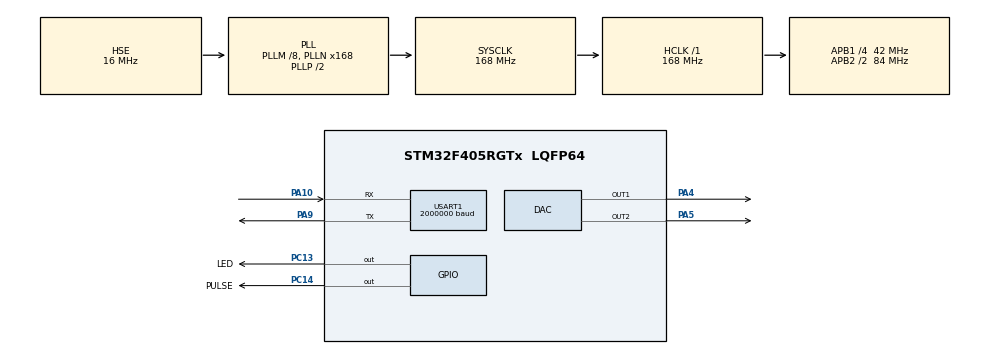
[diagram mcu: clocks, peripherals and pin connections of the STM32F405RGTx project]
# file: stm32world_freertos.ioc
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ARM.CMSIS.5.6.0.CMSISJjCORE=true
ARM.CMSIS.5.6.0.CMSISJjDSP=Library
DAC.DAC_Trigger=DAC_TRIGGER_T6_TRGO
DAC.DAC_Trigger2=DAC_TRIGGER_T6_TRGO
Dma.DAC1.0.Direction=DMA_MEMORY_TO_PERIPH
Dma.DAC1.0.FIFOMode=DMA_FIFOMODE_DISABLE
Dma.DAC1.0.Instance=DMA1_Stream5
Dma.DAC1.0.MemDataAlignment=DMA_MDATAALIGN_HALFWORD
Dma.DAC1.0.MemInc=DMA_MINC_ENABLE
Dma.DAC1.0.Mode=DMA_CIRCULAR
Dma.DAC1.0.PeriphDataAlignment=DMA_PDATAALIGN_HALFWORD
Dma.DAC1.0.PeriphInc=DMA_PINC_DISABLE
Dma.DAC1.0.Priority=DMA_PRIORITY_LOW
Dma.DAC2.1.Direction=DMA_MEMORY_TO_PERIPH
Dma.DAC2.1.FIFOMode=DMA_FIFOMODE_DISABLE
Dma.DAC2.1.Instance=DMA1_Stream6
Dma.DAC2.1.MemDataAlignment=DMA_MDATAALIGN_HALFWORD
Dma.DAC2.1.MemInc=DMA_MINC_ENABLE
Dma.DAC2.1.Mode=DMA_CIRCULAR
Dma.DAC2.1.PeriphDataAlignment=DMA_PDATAALIGN_HALFWORD
Dma.DAC2.1.PeriphInc=DMA_PINC_DISABLE
Dma.DAC2.1.Priority=DMA_PRIORITY_LOW
Dma.Request0=DAC1
Dma.Request1=DAC2
FREERTOS.BinarySemaphores01=ledSemaphore,Dynamic,NULL,Available;pulseSemaphore,Dynamic,NULL,Available
FREERTOS.HEAP_NUMBER=4
FREERTOS.INCLUDE_uxTaskGetStackHighWaterMark2=1
FREERTOS.Mutexes01=printMutex,Dynamic,NULL,Available;ledMutex,Dynamic,NULL,Available
FREERTOS.Queues01=tickQueue,16,uint32_t,0,Dynamic,NULL,NULL;sineQueue,16,uint32_t,0,Dynamic,NULL,NULL;waveQueue,16,wave_queue_t,0,Dynamic,NULL,NULL
FREERTOS.Tasks01=defaultTask,24,128,StartDefaultTask,Default,NULL,Dynamic,NULL,NULL;ledTask,24,128,StartLedTask,Default,NULL,Dynamic,NULL,NULL;tickTask,24,256,StartTickTask,Default,NULL,Dynamic,NULL,NULL;statusTask,24,256,StartStatusTask,Default,NULL,Dynamic,NULL,NULL;pulseTask,24,128,StartPulseTask,Default,NULL,Dynamic,NULL,NULL;sineTask,24,256,StartSineTask,Default,NULL,Dynamic,NULL,NULL;waveTask,24,256,StartWaveTask,Default,NULL,Dynamic,NULL,NULL;waste1Task,8,128,StartWaste1Task,Default,NULL,Dynamic,NULL,NULL;waste2Task,8,128,StartWaste2Task,Default,NULL,Dynamic,NULL,NULL
FREERTOS.configENABLE_BACKWARD_COMPATIBILITY=0
FREERTOS.configENABLE_FPU=1
FREERTOS.configGENERATE_RUN_TIME_STATS=1
FREERTOS.configMAX_TASK_NAME_LEN=12
FREERTOS.configMINIMAL_STACK_SIZE=128
FREERTOS.configRECORD_STACK_HIGH_ADDRESS=1
FREERTOS.configTOTAL_HEAP_SIZE=65536
FREERTOS.configUSE_NEWLIB_REENTRANT=1
FREERTOS.configUSE_STATS_FORMATTING_FUNCTIONS=1
Mcu.Family=STM32F4
Mcu.Name=STM32F405RGTx
Mcu.Package=LQFP64
NVIC.DMA1_Stream5_IRQn=true\:5\:0\:false\:false\:true\:true\:false\:true\:true
NVIC.DMA1_Stream6_IRQn=true\:5\:0\:false\:false\:true\:true\:false\:true\:true
NVIC.PriorityGroup=NVIC_PRIORITYGROUP_4
NVIC.TIM4_IRQn=true\:5\:0\:false\:false\:true\:true\:true\:true\:true
NVIC.TIM8_TRG_COM_TIM14_IRQn=true\:15\:0\:false\:false\:true\:false\:false\:true\:true
NVIC.TimeBase=TIM8_TRG_COM_TIM14_IRQn
NVIC.TimeBaseIP=TIM14
PA10.Mode=Asynchronous
PA10.Signal=USART1_RX
PA13.Mode=Trace_Asynchronous_SW
PA13.Signal=SYS_JTMS-SWDIO
PA14.Mode=Trace_Asynchronous_SW
PA14.Signal=SYS_JTCK-SWCLK
PA4.Signal=COMP_DAC1_group
PA5.Signal=COMP_DAC2_group
PA9.Mode=Asynchronous
PA9.Signal=USART1_TX
PB3.Mode=Trace_Asynchronous_SW
PB3.Signal=SYS_JTDO-SWO
PC13-ANTI_TAMP.GPIO_Label=LED
PC13-ANTI_TAMP.PinState=GPIO_PIN_SET
PC13-ANTI_TAMP.Signal=GPIO_Output
PC14-OSC32_IN.GPIO_Label=PULSE
PC14-OSC32_IN.Signal=GPIO_Output
PH0-OSC_IN.Mode=HSE-External-Oscillator
PH0-OSC_IN.Signal=RCC_OSC_IN
PH1-OSC_OUT.Mode=HSE-External-Oscillator
PH1-OSC_OUT.Signal=RCC_OSC_OUT
ProjectManager.HeapSize=0x200
ProjectManager.StackSize=0x400
ProjectManager.TargetToolchain=STM32CubeIDE
RCC.48MHZClocksFreq_Value=84000000
RCC.AHBFreq_Value=168000000
RCC.APB1CLKDivider=RCC_HCLK_DIV4
RCC.APB1Freq_Value=42000000
RCC.APB1TimFreq_Value=84000000
RCC.APB2CLKDivider=RCC_HCLK_DIV2
RCC.APB2Freq_Value=84000000
RCC.APB2TimFreq_Value=168000000
RCC.CortexFreq_Value=168000000
RCC.HCLKFreq_Value=168000000
RCC.HSE_VALUE=16000000
RCC.HSI_VALUE=16000000
RCC.LSE_VALUE=32768
RCC.PLLM=8
RCC.PLLN=168
RCC.PLLSourceVirtual=RCC_PLLSOURCE_HSE
RCC.SYSCLKFreq_VALUE=168000000
RCC.SYSCLKSource=RCC_SYSCLKSOURCE_PLLCLK
RCC.VCOOutputFreq_Value=336000000
SH.COMP_DAC1_group.0=DAC_OUT1,DAC_OUT1
SH.COMP_DAC2_group.0=DAC_OUT2,DAC_OUT2
TIM13.Period=840-1
TIM4.Period=100 - 1
TIM4.Prescaler=84 - 1
TIM6.Period=10 - 1
TIM6.Prescaler=84 - 1
TIM6.TIM_MasterOutputTrigger=TIM_TRGO_UPDATE
USART1.BaudRate=2000000
USART1.OverSampling=UART_OVERSAMPLING_8
USART1.VirtualMode=VM_ASYNC
VP_ARM.CMSIS_VS_CMSISJjCORE_5.3.0_5.6.0.Mode=CMSISJjCORE
VP_ARM.CMSIS_VS_CMSISJjDSP_1.7.0_5.6.0.Mode=CMSISJjDSP
VP_FREERTOS_VS_CMSIS_V2.Mode=CMSIS_V2
VP_SYS_VS_tim14.Mode=TIM14
VP_TIM13_VS_ClockSourceINT.Mode=Enable_Timer
VP_TIM4_VS_ClockSourceINT.Mode=Internal
VP_TIM6_VS_ClockSourceINT.Mode=Enable_Timer
board=custom

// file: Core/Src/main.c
/* USER CODE BEGIN Header */
/**
 ******************************************************************************
 * @file           : main.c
 * @brief          : Main program body
 ******************************************************************************
 * @attention
 *
 * Copyright (c) 2024 Lars Boegild Thomsen <lth@stm32world.com>
 * All rights reserved.
 *
 * This software is licensed under terms that can be found in the LICENSE file
 * in the root directory of this software component.
 * If no LICENSE file comes with this software, it is provided AS-IS.
 *
 ******************************************************************************
 */
/* USER CODE END Header */
#include "main.h"
#include "cmsis_os.h"

/* USER CODE BEGIN Includes */
#include <stdio.h>
#include <math.h>
#include "arm_math.h"
/* USER CODE END Includes */

/* USER CODE BEGIN PTD */

typedef struct {
    uint16_t *buffer;
    float angle;
    float angle_change;
    float amplification;
} sine_queue_t;

typedef struct {
    uint8_t dac;
    float frequency;
    float amplification;
} wave_queue_t;

/* USER CODE END PTD */

/* USER CODE BEGIN PD */
#define DMA_BUFFER_SIZE 64
#define SAMPLE_FREQ 100000
#define OUTPUT_MID 2048
/* USER CODE END PD */

DAC_HandleTypeDef hdac;
DMA_HandleTypeDef hdma_dac1;
DMA_HandleTypeDef hdma_dac2;

TIM_HandleTypeDef htim4;
TIM_HandleTypeDef htim6;
TIM_HandleTypeDef htim13;

UART_HandleTypeDef huart1;

/* Definitions for defaultTask */
osThreadId_t defaultTaskHandle;
const osThreadAttr_t defaultTask_attributes = {
  .name = "defaultTask",
  .stack_size = 128 * 4,
  .priority = (osPriority_t) osPriorityNormal,
};
/* Definitions for ledTask */
osThreadId_t ledTaskHandle;
const osThreadAttr_t ledTask_attributes = {
  .name = "ledTask",
  .stack_size = 128 * 4,
  .priority = (osPriority_t) osPriorityNormal,
};
/* Definitions for tickTask */
osThreadId_t tickTaskHandle;
const osThreadAttr_t tickTask_attributes = {
  .name = "tickTask",
  .stack_size = 256 * 4,
  .priority = (osPriority_t) osPriorityNormal,
};
/* Definitions for statusTask */
osThreadId_t statusTaskHandle;
const osThreadAttr_t statusTask_attributes = {
  .name = "statusTask",
  .stack_size = 256 * 4,
  .priority = (osPriority_t) osPriorityNormal,
};
/* Definitions for pulseTask */
osThreadId_t pulseTaskHandle;
const osThreadAttr_t pulseTask_attributes = {
  .name = "pulseTask",
  .stack_size = 128 * 4,
  .priority = (osPriority_t) osPriorityNormal,
};
/* Definitions for sineTask */
osThreadId_t sineTaskHandle;
const osThreadAttr_t sineTask_attributes = {
  .name = "sineTask",
  .stack_size = 256 * 4,
  .priority = (osPriority_t) osPriorityNormal,
};
/* Definitions for waveTask */
osThreadId_t waveTaskHandle;
const osThreadAttr_t waveTask_attributes = {
  .name = "waveTask",
  .stack_size = 256 * 4,
  .priority = (osPriority_t) osPriorityNormal,
};
/* Definitions for waste1Task */
osThreadId_t waste1TaskHandle;
const osThreadAttr_t waste1Task_attributes = {
  .name = "waste1Task",
  .stack_size = 128 * 4,
  .priority = (osPriority_t) osPriorityLow,
};
/* Definitions for waste2Task */
osThreadId_t waste2TaskHandle;
const osThreadAttr_t waste2Task_attributes = {
  .name = "waste2Task",
  .stack_size = 128 * 4,
  .priority = (osPriority_t) osPriorityLow,
};
/* Definitions for tickQueue */
osMessageQueueId_t tickQueueHandle;
const osMessageQueueAttr_t tickQueue_attributes = {
  .name = "tickQueue"
};
/* Definitions for sineQueue */
osMessageQueueId_t sineQueueHandle;
const osMessageQueueAttr_t sineQueue_attributes = {
  .name = "sineQueue"
};
/* Definitions for waveQueue */
osMessageQueueId_t waveQueueHandle;
const osMessageQueueAttr_t waveQueue_attributes = {
  .name = "waveQueue"
};
/* Definitions for printMutex */
osMutexId_t printMutexHandle;
const osMutexAttr_t printMutex_attributes = {
  .name = "printMutex"
};
/* Definitions for ledMutex */
osMutexId_t ledMutexHandle;
const osMutexAttr_t ledMutex_attributes = {
  .name = "ledMutex"
};
/* Definitions for ledSemaphore */
osSemaphoreId_t ledSemaphoreHandle;
const osSemaphoreAttr_t ledSemaphore_attributes = {
  .name = "ledSemaphore"
};
/* Definitions for pulseSemaphore */
osSemaphoreId_t pulseSemaphoreHandle;
const osSemaphoreAttr_t pulseSemaphore_attributes = {
  .name = "pulseSemaphore"
};
/* USER CODE BEGIN PV */

volatile unsigned long ulHighFrequencyTimerTicks;

#ifdef configAPPLICATION_ALLOCATED_HEAP
uint8_t ucHeap[configTOTAL_HEAP_SIZE] __attribute__((section(".ccmram")));
#endif

uint16_t dma_buffer_1[2 * DMA_BUFFER_SIZE];
uint16_t dma_buffer_2[2 * DMA_BUFFER_SIZE];

const float amplification_demo_values[] = {
        0.1,
        0.2,
        0.3,
        0.4,
        0.5,
        0.6,
        0.7,
        0.8,
        0.9,
        1.0
};

sine_queue_t dacs[2] = {
        {
                &dma_buffer_1[0],
                0,
                1000 * (2 * M_PI / SAMPLE_FREQ),
                0.99
        },
        {
                &dma_buffer_2[0],
                0,
                999.9 * (2 * M_PI / SAMPLE_FREQ),
                0.00
        }

};

const float two_pi = 2 * M_PI;

uint32_t conv_half_ch1, conv_ch1, conv_half_ch2, conv_ch2, sine_task;

/* USER CODE END PV */

void SystemClock_Config(void);
static void MX_GPIO_Init(void);
static void MX_DMA_Init(void);
static void MX_USART1_UART_Init(void);
static void MX_TIM13_Init(void);
static void MX_TIM4_Init(void);
static void MX_DAC_Init(void);
static void MX_TIM6_Init(void);
void StartDefaultTask(void *argument);
void StartLedTask(void *argument);
void StartTickTask(void *argument);
void StartStatusTask(void *argument);
void StartPulseTask(void *argument);
void StartSineTask(void *argument);
void StartWaveTask(void *argument);
void StartWaste1Task(void *argument);
void StartWaste2Task(void *argument);

/* USER CODE BEGIN 0 */

// Send printf to uart1
int _write(int fd, char *ptr, int len) {
    HAL_StatusTypeDef hstatus;

    if (fd == 1 || fd == 2) {
        hstatus = HAL_UART_Transmit(&huart1, (uint8_t*) ptr, len, HAL_MAX_DELAY);
        if (hstatus == HAL_OK)
            return len;
        else
            return -1;
    }
    return -1;
}

void HAL_DAC_ConvHalfCpltCallbackCh1(DAC_HandleTypeDef *hdac) {
    ++conv_half_ch1;
    dacs[0].buffer = &dma_buffer_1[0];
    uint32_t dac_addr = (uint32_t) &dacs[0];
    osMessageQueuePut(sineQueueHandle, &dac_addr, 0, 0);
}

void HAL_DAC_ConvCpltCallbackCh1(DAC_HandleTypeDef *hdac) {
    ++conv_ch1;
    dacs[0].buffer = &dma_buffer_1[DMA_BUFFER_SIZE];
    uint32_t dac_addr = (uint32_t) &dacs[0];
    osMessageQueuePut(sineQueueHandle, &dac_addr, 0, 0);
}

void HAL_DACEx_ConvHalfCpltCallbackCh2(DAC_HandleTypeDef *hdac) {
    ++conv_half_ch2;
    dacs[1].buffer = &dma_buffer_2[0];
    uint32_t dac_addr = (uint32_t) &dacs[1];
    osMessageQueuePut(sineQueueHandle, &dac_addr, 0, 0);
}

void HAL_DACEx_ConvCpltCallbackCh2(DAC_HandleTypeDef *hdac) {
    ++conv_ch2;
    dacs[1].buffer = &dma_buffer_2[DMA_BUFFER_SIZE];
    uint32_t dac_addr = (uint32_t) &dacs[1];
    osMessageQueuePut(sineQueueHandle, &dac_addr, 0, 0);
}

void configureTimerForRunTimeStats(void) {
    ulHighFrequencyTimerTicks = 0;
    HAL_TIM_Base_Start_IT(&htim13);
}

unsigned long getRunTimeCounterValue(void) {
    return ulHighFrequencyTimerTicks;
}

/* USER CODE END 0 */

int main(void)
{

  /* MCU Configuration--------------------------------------------------------*/

  /* Reset of all peripherals, Initializes the Flash interface and the Systick. */
  HAL_Init();

  /* Configure the system clock */
  SystemClock_Config();

  /* Initialize all configured peripherals */
  MX_GPIO_Init();
  MX_DMA_Init();
  MX_USART1_UART_Init();
  MX_TIM13_Init();
  MX_TIM4_Init();
  MX_DAC_Init();
  MX_TIM6_Init();
  /* USER CODE BEGIN 2 */

    printf("\n\n\n--------\nStarting\n");

    HAL_TIM_Base_Start_IT(&htim4);
    HAL_TIM_Base_Start_IT(&htim6);

    HAL_DAC_Start_DMA(&hdac, DAC_CHANNEL_1, (uint32_t*) &dma_buffer_1, 2 * DMA_BUFFER_SIZE, DAC_ALIGN_12B_R);
    HAL_DAC_Start_DMA(&hdac, DAC_CHANNEL_2, (uint32_t*) &dma_buffer_2, 2 * DMA_BUFFER_SIZE, DAC_ALIGN_12B_R);

  /* USER CODE END 2 */

  /* Init scheduler */
  osKernelInitialize();
  /* Create the mutex(es) */
  /* creation of printMutex */
  printMutexHandle = osMutexNew(&printMutex_attributes);

  /* creation of ledMutex */
  ledMutexHandle = osMutexNew(&ledMutex_attributes);

  /* Create the semaphores(s) */
  /* creation of ledSemaphore */
  ledSemaphoreHandle = osSemaphoreNew(1, 1, &ledSemaphore_attributes);

  /* creation of pulseSemaphore */
  pulseSemaphoreHandle = osSemaphoreNew(1, 1, &pulseSemaphore_attributes);

  /* Create the queue(s) */
  /* creation of tickQueue */
  tickQueueHandle = osMessageQueueNew (16, sizeof(uint32_t), &tickQueue_attributes);

  /* creation of sineQueue */
  sineQueueHandle = osMessageQueueNew (16, sizeof(uint32_t), &sineQueue_attributes);

  /* creation of waveQueue */
  waveQueueHandle = osMessageQueueNew (16, sizeof(wave_queue_t), &waveQueue_attributes);

  /* USER CODE BEGIN RTOS_QUEUES */
    /* creation of sineQueue */
  /* USER CODE END RTOS_QUEUES */

  /* Create the thread(s) */
  /* creation of defaultTask */
  defaultTaskHandle = osThreadNew(StartDefaultTask, NULL, &defaultTask_attributes);

  /* creation of ledTask */
  ledTaskHandle = osThreadNew(StartLedTask, NULL, &ledTask_attributes);

  /* creation of tickTask */
  tickTaskHandle = osThreadNew(StartTickTask, NULL, &tickTask_attributes);

  /* creation of statusTask */
  statusTaskHandle = osThreadNew(StartStatusTask, NULL, &statusTask_attributes);

  /* creation of pulseTask */
  pulseTaskHandle = osThreadNew(StartPulseTask, NULL, &pulseTask_attributes);

  /* creation of sineTask */
  sineTaskHandle = osThreadNew(StartSineTask, NULL, &sineTask_attributes);

  /* creation of waveTask */
  waveTaskHandle = osThreadNew(StartWaveTask, NULL, &waveTask_attributes);

  /* creation of waste1Task */
  waste1TaskHandle = osThreadNew(StartWaste1Task, NULL, &waste1Task_attributes);

  /* creation of waste2Task */
  waste2TaskHandle = osThreadNew(StartWaste2Task, NULL, &waste2Task_attributes);

  /* Start scheduler */
  osKernelStart();

  /* We should never get here as control is now taken by the scheduler */

  /* Infinite loop */
  /* USER CODE BEGIN WHILE */

    Error_Handler();

    while (1)
    {
    /* USER CODE END WHILE */

    }
}

void SystemClock_Config(void)
{
  RCC_OscInitTypeDef RCC_OscInitStruct = {0};
  RCC_ClkInitTypeDef RCC_ClkInitStruct = {0};

  /** Configure the main internal regulator output voltage
  */
  __HAL_RCC_PWR_CLK_ENABLE();
  __HAL_PWR_VOLTAGESCALING_CONFIG(PWR_REGULATOR_VOLTAGE_SCALE1);

  /** Initializes the RCC Oscillators according to the specified parameters
  * in the RCC_OscInitTypeDef structure.
  */
  RCC_OscInitStruct.OscillatorType = RCC_OSCILLATORTYPE_HSE;
  RCC_OscInitStruct.HSEState = RCC_HSE_ON;
  RCC_OscInitStruct.PLL.PLLState = RCC_PLL_ON;
  RCC_OscInitStruct.PLL.PLLSource = RCC_PLLSOURCE_HSE;
  RCC_OscInitStruct.PLL.PLLM = 8;
  RCC_OscInitStruct.PLL.PLLN = 168;
  RCC_OscInitStruct.PLL.PLLP = RCC_PLLP_DIV2;
  RCC_OscInitStruct.PLL.PLLQ = 4;
  if (HAL_RCC_OscConfig(&RCC_OscInitStruct) != HAL_OK)
  {
    Error_Handler();
  }

  /** Initializes the CPU, AHB and APB buses clocks
  */
  RCC_ClkInitStruct.ClockType = RCC_CLOCKTYPE_HCLK|RCC_CLOCKTYPE_SYSCLK
                              |RCC_CLOCKTYPE_PCLK1|RCC_CLOCKTYPE_PCLK2;
  RCC_ClkInitStruct.SYSCLKSource = RCC_SYSCLKSOURCE_PLLCLK;
  RCC_ClkInitStruct.AHBCLKDivider = RCC_SYSCLK_DIV1;
  RCC_ClkInitStruct.APB1CLKDivider = RCC_HCLK_DIV4;
  RCC_ClkInitStruct.APB2CLKDivider = RCC_HCLK_DIV2;

  if (HAL_RCC_ClockConfig(&RCC_ClkInitStruct, FLASH_LATENCY_5) != HAL_OK)
  {
    Error_Handler();
  }
}

static void MX_DAC_Init(void)
{

  DAC_ChannelConfTypeDef sConfig = {0};

  /** DAC Initialization
  */
  hdac.Instance = DAC;
  if (HAL_DAC_Init(&hdac) != HAL_OK)
  {
    Error_Handler();
  }

  /** DAC channel OUT1 config
  */
  sConfig.DAC_Trigger = DAC_TRIGGER_T6_TRGO;
  sConfig.DAC_OutputBuffer = DAC_OUTPUTBUFFER_ENABLE;
  if (HAL_DAC_ConfigChannel(&hdac, &sConfig, DAC_CHANNEL_1) != HAL_OK)
  {
    Error_Handler();
  }

  /** DAC channel OUT2 config
  */
  if (HAL_DAC_ConfigChannel(&hdac, &sConfig, DAC_CHANNEL_2) != HAL_OK)
  {
    Error_Handler();
  }

}

static void MX_TIM4_Init(void)
{

  TIM_ClockConfigTypeDef sClockSourceConfig = {0};
  TIM_MasterConfigTypeDef sMasterConfig = {0};

  htim4.Instance = TIM4;
  htim4.Init.Prescaler = 84 - 1;
  htim4.Init.CounterMode = TIM_COUNTERMODE_UP;
  htim4.Init.Period = 100 - 1;
  htim4.Init.ClockDivision = TIM_CLOCKDIVISION_DIV1;
  htim4.Init.AutoReloadPreload = TIM_AUTORELOAD_PRELOAD_DISABLE;
  if (HAL_TIM_Base_Init(&htim4) != HAL_OK)
  {
    Error_Handler();
  }
  sClockSourceConfig.ClockSource = TIM_CLOCKSOURCE_INTERNAL;
  if (HAL_TIM_ConfigClockSource(&htim4, &sClockSourceConfig) != HAL_OK)
  {
    Error_Handler();
  }
  sMasterConfig.MasterOutputTrigger = TIM_TRGO_RESET;
  sMasterConfig.MasterSlaveMode = TIM_MASTERSLAVEMODE_DISABLE;
  if (HAL_TIMEx_MasterConfigSynchronization(&htim4, &sMasterConfig) != HAL_OK)
  {
    Error_Handler();
  }

}

static void MX_TIM6_Init(void)
{

  TIM_MasterConfigTypeDef sMasterConfig = {0};

  htim6.Instance = TIM6;
  htim6.Init.Prescaler = 84 - 1;
  htim6.Init.CounterMode = TIM_COUNTERMODE_UP;
  htim6.Init.Period = 10 - 1;
  htim6.Init.AutoReloadPreload = TIM_AUTORELOAD_PRELOAD_DISABLE;
  if (HAL_TIM_Base_Init(&htim6) != HAL_OK)
  {
    Error_Handler();
  }
  sMasterConfig.MasterOutputTrigger = TIM_TRGO_UPDATE;
  sMasterConfig.MasterSlaveMode = TIM_MASTERSLAVEMODE_DISABLE;
  if (HAL_TIMEx_MasterConfigSynchronization(&htim6, &sMasterConfig) != HAL_OK)
  {
    Error_Handler();
  }

}

static void MX_TIM13_Init(void)
{

  htim13.Instance = TIM13;
  htim13.Init.Prescaler = 0;
  htim13.Init.CounterMode = TIM_COUNTERMODE_UP;
  htim13.Init.Period = 840-1;
  htim13.Init.ClockDivision = TIM_CLOCKDIVISION_DIV1;
  htim13.Init.AutoReloadPreload = TIM_AUTORELOAD_PRELOAD_DISABLE;
  if (HAL_TIM_Base_Init(&htim13) != HAL_OK)
  {
    Error_Handler();
  }

}

static void MX_USART1_UART_Init(void)
{

  huart1.Instance = USART1;
  huart1.Init.BaudRate = 2000000;
  huart1.Init.WordLength = UART_WORDLENGTH_8B;
  huart1.Init.StopBits = UART_STOPBITS_1;
  huart1.Init.Parity = UART_PARITY_NONE;
  huart1.Init.Mode = UART_MODE_TX_RX;
  huart1.Init.HwFlowCtl = UART_HWCONTROL_NONE;
  huart1.Init.OverSampling = UART_OVERSAMPLING_8;
  if (HAL_UART_Init(&huart1) != HAL_OK)
  {
    Error_Handler();
  }

}

static void MX_DMA_Init(void)
{

  /* DMA controller clock enable */
  __HAL_RCC_DMA1_CLK_ENABLE();

  /* DMA interrupt init */
  /* DMA1_Stream5_IRQn interrupt configuration */
  HAL_NVIC_SetPriority(DMA1_Stream5_IRQn, 5, 0);
  HAL_NVIC_EnableIRQ(DMA1_Stream5_IRQn);
  /* DMA1_Stream6_IRQn interrupt configuration */
  HAL_NVIC_SetPriority(DMA1_Stream6_IRQn, 5, 0);
  HAL_NVIC_EnableIRQ(DMA1_Stream6_IRQn);

}

static void MX_GPIO_Init(void)
{
  GPIO_InitTypeDef GPIO_InitStruct = {0};

  /* GPIO Ports Clock Enable */
  __HAL_RCC_GPIOC_CLK_ENABLE();
  __HAL_RCC_GPIOH_CLK_ENABLE();
  __HAL_RCC_GPIOA_CLK_ENABLE();
  __HAL_RCC_GPIOB_CLK_ENABLE();

  /*Configure GPIO pin Output Level */
  HAL_GPIO_WritePin(LED_GPIO_Port, LED_Pin, GPIO_PIN_SET);

  /*Configure GPIO pin Output Level */
  HAL_GPIO_WritePin(PULSE_GPIO_Port, PULSE_Pin, GPIO_PIN_RESET);

  /*Configure GPIO pins : LED_Pin PULSE_Pin */
  GPIO_InitStruct.Pin = LED_Pin|PULSE_Pin;
  GPIO_InitStruct.Mode = GPIO_MODE_OUTPUT_PP;
  GPIO_InitStruct.Pull = GPIO_NOPULL;
  GPIO_InitStruct.Speed = GPIO_SPEED_FREQ_LOW;
  HAL_GPIO_Init(GPIOC, &GPIO_InitStruct);

}

void StartDefaultTask(void *argument)
{
  /* USER CODE BEGIN 5 */

    uint32_t loop_cnt = 0;
    uint8_t amplification_demo_idx = 0;

    /* Infinite loop */
    for (;;) {

        osDelay(100);

        if (loop_cnt % 10 == 0) {

            uint32_t tick = osKernelGetTickCount();

            osMessageQueuePut(tickQueueHandle, &tick, 0, osWaitForever);

        }

        if (loop_cnt % 5 == 0) {

            osSemaphoreRelease(ledSemaphoreHandle);

        }

        if (loop_cnt % 1 == 0) {

            wave_queue_t wave;

            wave.dac = 1;
            wave.frequency = 999.9;
            wave.amplification = amplification_demo_values[amplification_demo_idx];

            osMessageQueuePut(waveQueueHandle, &wave, 0, osWaitForever);

            ++amplification_demo_idx;

            if (amplification_demo_idx >= sizeof(amplification_demo_values) / sizeof(amplification_demo_values[0])) {
                amplification_demo_idx = 0;
            }

        }

        ++loop_cnt;

    }
  /* USER CODE END 5 */
}

void StartLedTask(void *argument)
{
  /* USER CODE BEGIN StartLedTask */

    osStatus_t ret;

    /* Infinite loop */
    for (;;) {

        ret = osSemaphoreAcquire(ledSemaphoreHandle, osWaitForever);

        if (!ret) {

            osMutexWait(ledMutexHandle, osWaitForever);

            HAL_GPIO_TogglePin(LED_GPIO_Port, LED_Pin);

            osMutexRelease(ledMutexHandle);

        }

    }
  /* USER CODE END StartLedTask */
}

void StartTickTask(void *argument)
{
  /* USER CODE BEGIN StartTickTask */

    osStatus_t ret;

    /* Infinite loop */
    for (;;) {

        uint32_t tick;

        ret = osMessageQueueGet(tickQueueHandle, &tick, NULL, osWaitForever);

        if (ret == osOK) {

            osMutexWait(printMutexHandle, osWaitForever);

            printf("Tick %lu (c1 = %lu, c1h = %lu ch2 = %lu, c2h = %lu s = %lu)\n", tick / 1000, conv_ch1, conv_half_ch1, conv_ch2, conv_half_ch2, sine_task);

            osMutexRelease(printMutexHandle);

        }

    }

  /* USER CODE END StartTickTask */
}

void StartStatusTask(void *argument)
{
  /* USER CODE BEGIN StartStatusTask */
    TaskStatus_t *pxTaskStatusArray;
    volatile UBaseType_t uxArraySize, x;
    unsigned long ulTotalRunTime;
    float runtime_percentage;

    /* Infinite loop */
    for (;;) {

        osDelay(10000);

        uxArraySize = uxTaskGetNumberOfTasks();
        pxTaskStatusArray = pvPortMalloc(uxArraySize * sizeof(TaskStatus_t)); // a little bit scary!

        osMutexWait(printMutexHandle, osWaitForever);

        if (pxTaskStatusArray != NULL) {

            uxArraySize = uxTaskGetSystemState(pxTaskStatusArray, uxArraySize,
                    &ulTotalRunTime);

            printf("Task count = %lu\n", uxArraySize);
            printf("No       Name          P  S   Usage     Count     HW\n");

            for (x = 0; x < uxArraySize; x++) {

                runtime_percentage = (float) (100
                        * (float) pxTaskStatusArray[x].ulRunTimeCounter
                        / (float) ulTotalRunTime);

                printf("Task %2lu: %-12s %2d %2d %8.4f (%8lu) %4i\n",
                        x,
                        pxTaskStatusArray[x].pcTaskName,
                        pxTaskStatusArray[x].uxCurrentPriority,
                        pxTaskStatusArray[x].eCurrentState,
                        runtime_percentage,
                        pxTaskStatusArray[x].ulRunTimeCounter,
                        pxTaskStatusArray[x].usStackHighWaterMark);

            }

            vPortFree(pxTaskStatusArray);

        } else {
            printf("Unable to allocate stack space\n");
        }

        osMutexRelease(printMutexHandle);

    }

  /* USER CODE END StartStatusTask */
}

void StartPulseTask(void *argument)
{
  /* USER CODE BEGIN StartPulseTask */

    osStatus_t ret;

    /* Infinite loop */
    for (;;) {

        ret = osSemaphoreAcquire(pulseSemaphoreHandle, osWaitForever);

        if (!ret) {
            HAL_GPIO_TogglePin(PULSE_GPIO_Port, PULSE_Pin);
        }

    }

  /* USER CODE END StartPulseTask */
}

void StartSineTask(void *argument)
{
  /* USER CODE BEGIN StartSineTask */

    osStatus_t ret;

    uint32_t sine_p;

    /* Infinite loop */
    for (;;) {

        ret = osMessageQueueGet(sineQueueHandle, &sine_p, 0, osWaitForever);

        if (ret == osOK) {
            ++sine_task;

            // The message contain a pointer to the relevant sine_queue_t struct
            sine_queue_t *sine = (sine_queue_t*) sine_p;

            // Run through the buffer
            for (int i = 0; i < DMA_BUFFER_SIZE; ++i) {

                // Since we got the angle, calculating the dac value is quite simple.  The arm_cos_f32 function
                // is blindingly fast compared with the fpu
                sine->buffer[i] = OUTPUT_MID - (sine->amplification * (OUTPUT_MID * arm_cos_f32(sine->angle)));

                // Prepare angle for next point simply by adding the pre-calculated angle change (based on frequency)
                sine->angle += sine->angle_change;

                // If we've gone full circle - cycle back
                if (sine->angle >= two_pi) {
                    sine->angle -= two_pi;
                }
            }

        }

    }

  /* USER CODE END StartSineTask */
}

void StartWaveTask(void *argument)
{
  /* USER CODE BEGIN StartWaveTask */

    osStatus_t ret;

    /* Infinite loop */
    for (;;) {

        wave_queue_t wave;

        ret = osMessageQueueGet(waveQueueHandle, &wave, NULL, osWaitForever);

        if (ret == osOK) {

            dacs[wave.dac].angle_change = wave.frequency * (2 * M_PI / SAMPLE_FREQ);
            dacs[wave.dac].amplification = wave.amplification;

        }

    }
  /* USER CODE END StartWaveTask */
}

void StartWaste1Task(void *argument)
{
  /* USER CODE BEGIN StartWaste1Task */

    uint8_t cnt = 0;

    /* Infinite loop */
    for (;;) {

        ++cnt;

        osThreadYield();

    }

  /* USER CODE END StartWaste1Task */
}

void StartWaste2Task(void *argument)
{
  /* USER CODE BEGIN StartWaste2Task */
    uint8_t cnt = 0;

    /* Infinite loop */
    for (;;) {

        ++cnt;

        osThreadYield();

    }
  /* USER CODE END StartWaste2Task */
}

void HAL_TIM_PeriodElapsedCallback(TIM_HandleTypeDef *htim)
{
  /* USER CODE BEGIN Callback 0 */

    if (htim->Instance == TIM4) {
        osSemaphoreRelease(pulseSemaphoreHandle);
    }

  /* USER CODE END Callback 0 */
  if (htim->Instance == TIM14) {
    HAL_IncTick();
  }
}

void Error_Handler(void)
{
    __disable_irq();
    while (1)
    {
    }
}

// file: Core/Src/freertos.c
/* USER CODE BEGIN Header */
/**
  ******************************************************************************
  * File Name          : freertos.c
  * Description        : Code for freertos applications
  ******************************************************************************
  * @attention
  *
  * Copyright (c) 2024 STMicroelectronics.
  * All rights reserved.
  *
  * This software is licensed under terms that can be found in the LICENSE file
  * in the root directory of this software component.
  * If no LICENSE file comes with this software, it is provided AS-IS.
  *
  ******************************************************************************
  */
/* USER CODE END Header */

#include "FreeRTOS.h"
#include "task.h"
#include "main.h"

/* Hook prototypes */
void configureTimerForRunTimeStats(void);
unsigned long getRunTimeCounterValue(void);

/* USER CODE BEGIN 1 */
/* Functions needed when configGENERATE_RUN_TIME_STATS is on */
__weak void configureTimerForRunTimeStats(void)
{

}

__weak unsigned long getRunTimeCounterValue(void)
{
return 0;
}
/* USER CODE END 1 */
